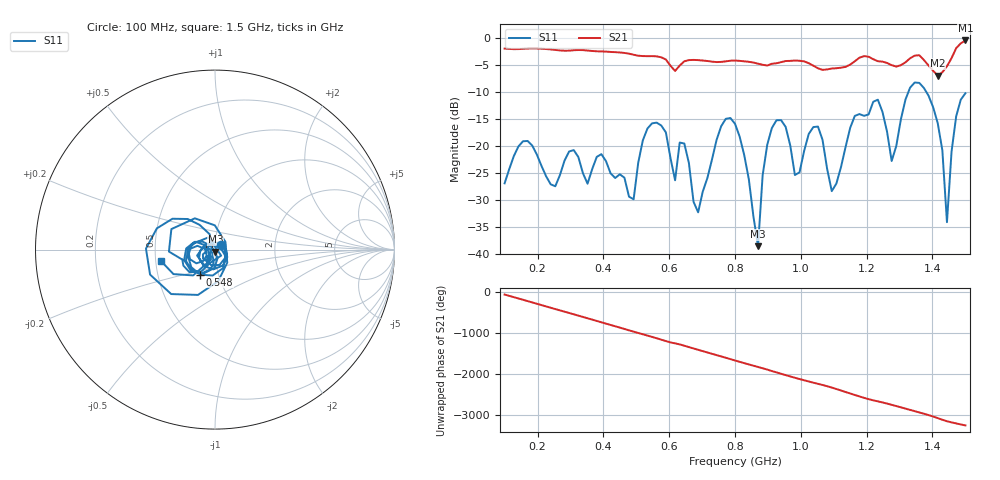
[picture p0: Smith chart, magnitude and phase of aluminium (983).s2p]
! NanoVNA-App
! Date: 2025-09-25 15:02:56
! Start: 100MHz Stop: 1,5GHz Points: 101
! S-Parameter data: F S11 S21 S12 S22
# Hz S RI R 50
!  Frequency  S11_Real  S11_Imag  S21_Real  S21_Imag  S12_Real  S12_Imag  S22_Real  S22_Imag
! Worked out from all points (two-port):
!   101 points, 100 MHz to 1.5 GHz, reference 50 ohm
!   highest |S21| = -0.41 dB at 1.5 GHz (marker M1); lowest = -6.9 dB at 1.416 GHz (marker M2)
!   |S21| within 3 dB of the highest: start of sweep to 566.2 MHz; 1.46 GHz to end of sweep (the widest 2 of 4)
!   lowest |S11| = -38.6 dB at 870 MHz (marker M3), VSWR 1.02, Z = 50.3 - j1.15 ohm
!   |S11| at or under -10 dB: start of sweep to 1.327 GHz; 1.381 GHz to end of sweep
!   S12 and S22 are empty: the file has one direction only
!   S11 on the Smith chart (normalised r, x): 100 MHz: 1.07, +0.06; 548 MHz: 0.82, -0.23; 1.5 GHz: 0.53, -0.07
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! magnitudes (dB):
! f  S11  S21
! 100 MHz  -27.0  -1.9
! 156 MHz  -19.1  -2.0
! 338 MHz  -25.1  -2.2
! 492 MHz  -29.9  -3.1
! 548 MHz  -15.8  -3.3
! 576 MHz  -16.2  -3.5
! 618 MHz  -26.4  -6.1
! 646 MHz  -19.6  -4.3
! 688 MHz  -32.3  -4.1
! 800 MHz  -15.9  -4.1
! 870 MHz  -38.6  -4.7
! 912 MHz  -16.7  -4.7
! 982 MHz  -25.4  -4.1
! 1.038 GHz  -16.5  -5.1
! 1.094 GHz  -28.4  -5.6
! 1.22 GHz  -11.8  -3.9
! 1.276 GHz  -22.8  -5.0
! 1.346 GHz  -8.2  -3.2
! 1.416 GHz  -15.8  -6.9
! 1.444 GHz  -34.2  -5.2
! 1.472 GHz  -14.5  -1.8
! 1.5 GHz  -10.2  -0.4
